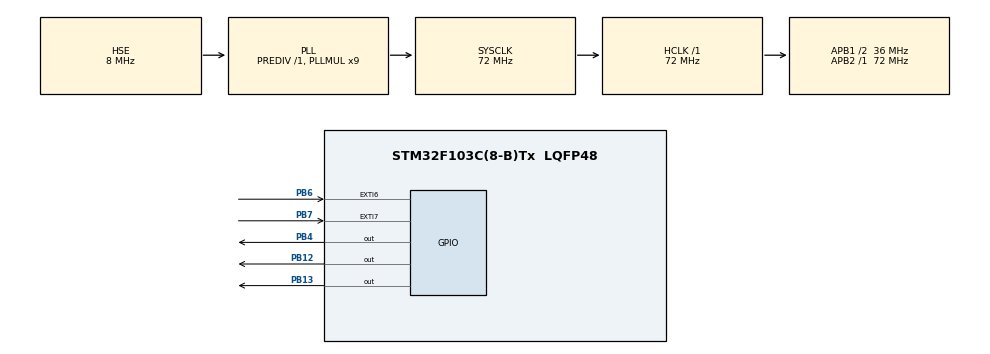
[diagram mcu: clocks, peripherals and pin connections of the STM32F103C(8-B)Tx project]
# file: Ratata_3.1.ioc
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Mcu.Family=STM32F1
Mcu.Name=STM32F103C(8-B)Tx
Mcu.Package=LQFP48
NVIC.EXTI9_5_IRQn=true\:0\:0\:false\:false\:true\:true\:true
NVIC.PriorityGroup=NVIC_PRIORITYGROUP_4
PA13.Mode=Serial_Wire
PA13.Signal=SYS_JTMS-SWDIO
PA14.Mode=Serial_Wire
PA14.Signal=SYS_JTCK-SWCLK
PB12.GPIO_PuPd=GPIO_PULLUP
PB12.Signal=GPIO_Output
PB13.GPIO_PuPd=GPIO_PULLUP
PB13.Signal=GPIO_Output
PB4.Signal=GPIO_Output
PB6.GPIO_PuPd=GPIO_PULLUP
PB6.Signal=GPXTI6
PB7.GPIO_PuPd=GPIO_PULLUP
PB7.Signal=GPXTI7
PD0-OSC_IN.Mode=HSE-External-Oscillator
PD0-OSC_IN.Signal=RCC_OSC_IN
PD1-OSC_OUT.Mode=HSE-External-Oscillator
PD1-OSC_OUT.Signal=RCC_OSC_OUT
ProjectManager.HeapSize=0x200
ProjectManager.StackSize=0x400
ProjectManager.TargetToolchain=MDK-ARM V5.27
RCC.AHBFreq_Value=72000000
RCC.APB1CLKDivider=RCC_HCLK_DIV2
RCC.APB1Freq_Value=36000000
RCC.APB1TimFreq_Value=72000000
RCC.APB2Freq_Value=72000000
RCC.APB2TimFreq_Value=72000000
RCC.HCLKFreq_Value=72000000
RCC.PLLMUL=RCC_PLL_MUL9
RCC.PLLSourceVirtual=RCC_PLLSOURCE_HSE
RCC.SYSCLKFreq_VALUE=72000000
RCC.SYSCLKSource=RCC_SYSCLKSOURCE_PLLCLK
RCC.USBFreq_Value=72000000
board=custom

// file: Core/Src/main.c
/* USER CODE BEGIN Header */
/**
  ******************************************************************************
  * @file           : main.c
  * @brief          : Main program body
  ******************************************************************************
  * @attention
  *
  * <h2><center>&copy; Copyright (c) 2021 STMicroelectronics.
  * All rights reserved.</center></h2>
  *
  * This software component is licensed by ST under BSD 3-Clause license,
  * the "License"; You may not use this file except in compliance with the
  * License. You may obtain a copy of the License at:
  *                        opensource.org/licenses/BSD-3-Clause
  *
  ******************************************************************************
  */
/* USER CODE END Header */
#include "main.h"

/* USER CODE BEGIN PV */
long frequency = 72000000;
int time = 0;
float signal = 0.1;
float sequence[] = {1,2,3,3,2,1,0.1,0}; // anal
float sequence2[] = {5,5,2,2,2,10,10,0.1,0}; // anal2
/* USER CODE END PV */

void SystemClock_Config(void);
static void MX_GPIO_Init(void);
/*void DWT_delay(float sec)
{
	for(uint32_t i = 0; i < sec*90000*200/13; i++)
	{
		__nop();
		__nop();
	}
}     */

/******************DWT_START*********************/
#define    DWT_CYCCNT    *(volatile unsigned long *)0xE0001004
#define    DWT_CONTROL   *(volatile unsigned long *)0xE0001000
#define    SCB_DEMCR     *(volatile unsigned long *)0xE000EDFC

void DWT_delay (uint32_t us)
{
  int32_t us_count_tick =  us * (SystemCoreClock/1000);
				//	разрешаем использовать счётчик
  SCB_DEMCR |= CoreDebug_DEMCR_TRCENA_Msk;
        //	обнуляем значение счётного регистра
  DWT_CYCCNT  = 0;
        //	запускаем счётчик
  DWT_CONTROL |= DWT_CTRL_CYCCNTENA_Msk;
  while(DWT_CYCCNT < us_count_tick);
        //	останавливаем счётчик
  DWT_CONTROL &= ~DWT_CTRL_CYCCNTENA_Msk;
}

void Ratata(float seq[])
{
		for (int i = 0; seq[i] != 0; i++){
			HAL_GPIO_WritePin(GPIOB, GPIO_PIN_4, GPIO_PIN_SET);
			DWT_delay(signal);
			HAL_GPIO_WritePin(GPIOB, GPIO_PIN_4, GPIO_PIN_RESET);
			DWT_delay(seq[i]-signal);
		}
}
void Ratata2(float seq[])
{
		for (int i = 0; seq[i] != 0; i++){
			HAL_GPIO_WritePin(GPIOB, GPIO_PIN_4, GPIO_PIN_SET);
			DWT_delay(signal);
			HAL_GPIO_WritePin(GPIOB, GPIO_PIN_4, GPIO_PIN_RESET);
			DWT_delay(seq[i] * 75./60. - signal);
		}
}

int main(void)
{

  /* MCU Configuration--------------------------------------------------------*/

  /* Reset of all peripherals, Initializes the Flash interface and the Systick. */
  HAL_Init();

  /* Configure the system clock */
  SystemClock_Config();

  /* Initialize all configured peripherals */
  MX_GPIO_Init();

  /* USER CODE BEGIN 2 */
	HAL_NVIC_EnableIRQ(EXTI9_5_IRQn);
  /* USER CODE END 2 */

  /* Infinite loop */
  while (1)
  {

    /* USER CODE BEGIN 3 */
		HAL_GPIO_WritePin(GPIOB,GPIO_PIN_12,GPIO_PIN_SET);
		DWT_delay(200);
		HAL_GPIO_WritePin(GPIOB,GPIO_PIN_12,GPIO_PIN_RESET);
		DWT_delay(200);
		HAL_GPIO_WritePin(GPIOB,GPIO_PIN_13,GPIO_PIN_SET);
		DWT_delay(200);
		HAL_GPIO_WritePin(GPIOB,GPIO_PIN_13,GPIO_PIN_RESET);
		DWT_delay(200);
	}
  /* USER CODE END 3 */
}

void SystemClock_Config(void)
{
  RCC_OscInitTypeDef RCC_OscInitStruct = {0};
  RCC_ClkInitTypeDef RCC_ClkInitStruct = {0};

  /** Initializes the RCC Oscillators according to the specified parameters
  * in the RCC_OscInitTypeDef structure.
  */
  RCC_OscInitStruct.OscillatorType = RCC_OSCILLATORTYPE_HSE;
  RCC_OscInitStruct.HSEState = RCC_HSE_ON;
  RCC_OscInitStruct.HSEPredivValue = RCC_HSE_PREDIV_DIV1;
  RCC_OscInitStruct.HSIState = RCC_HSI_ON;
  RCC_OscInitStruct.PLL.PLLState = RCC_PLL_ON;
  RCC_OscInitStruct.PLL.PLLSource = RCC_PLLSOURCE_HSE;
  RCC_OscInitStruct.PLL.PLLMUL = RCC_PLL_MUL9;
  if (HAL_RCC_OscConfig(&RCC_OscInitStruct) != HAL_OK)
  {
    Error_Handler();
  }
  /** Initializes the CPU, AHB and APB buses clocks
  */
  RCC_ClkInitStruct.ClockType = RCC_CLOCKTYPE_HCLK|RCC_CLOCKTYPE_SYSCLK
                              |RCC_CLOCKTYPE_PCLK1|RCC_CLOCKTYPE_PCLK2;
  RCC_ClkInitStruct.SYSCLKSource = RCC_SYSCLKSOURCE_PLLCLK;
  RCC_ClkInitStruct.AHBCLKDivider = RCC_SYSCLK_DIV1;
  RCC_ClkInitStruct.APB1CLKDivider = RCC_HCLK_DIV2;
  RCC_ClkInitStruct.APB2CLKDivider = RCC_HCLK_DIV1;

  if (HAL_RCC_ClockConfig(&RCC_ClkInitStruct, FLASH_LATENCY_2) != HAL_OK)
  {
    Error_Handler();
  }
}

static void MX_GPIO_Init(void)
{
  GPIO_InitTypeDef GPIO_InitStruct = {0};

  /* GPIO Ports Clock Enable */
  __HAL_RCC_GPIOD_CLK_ENABLE();
  __HAL_RCC_GPIOB_CLK_ENABLE();
  __HAL_RCC_GPIOA_CLK_ENABLE();

  /*Configure GPIO pin Output Level */
  HAL_GPIO_WritePin(GPIOB, GPIO_PIN_12|GPIO_PIN_13|GPIO_PIN_4, GPIO_PIN_RESET);

  /*Configure GPIO pins : PB12 PB13 */
  GPIO_InitStruct.Pin = GPIO_PIN_12|GPIO_PIN_13;
  GPIO_InitStruct.Mode = GPIO_MODE_OUTPUT_PP;
  GPIO_InitStruct.Pull = GPIO_NOPULL;
  GPIO_InitStruct.Speed = GPIO_SPEED_FREQ_LOW;
  HAL_GPIO_Init(GPIOB, &GPIO_InitStruct);

  /*Configure GPIO pin : PB4 */
  GPIO_InitStruct.Pin = GPIO_PIN_4;
  GPIO_InitStruct.Mode = GPIO_MODE_OUTPUT_PP;
  GPIO_InitStruct.Pull = GPIO_PULLDOWN;
  GPIO_InitStruct.Speed = GPIO_SPEED_FREQ_LOW;
  HAL_GPIO_Init(GPIOB, &GPIO_InitStruct);

  /*Configure GPIO pins : PB6 PB7 */
  GPIO_InitStruct.Pin = GPIO_PIN_6|GPIO_PIN_7;
  GPIO_InitStruct.Mode = GPIO_MODE_IT_FALLING;
  GPIO_InitStruct.Pull = GPIO_PULLUP;
  HAL_GPIO_Init(GPIOB, &GPIO_InitStruct);

  /* EXTI interrupt init*/
  HAL_NVIC_SetPriority(EXTI9_5_IRQn, 0, 0);
  HAL_NVIC_EnableIRQ(EXTI9_5_IRQn);

}

/* USER CODE BEGIN 4 */
	void HAL_GPIO_EXTI_Callback(uint16_t GPIO_Pin)
{
  /* Prevent unused argument(s) compilation warning */
  //UNUSED(GPIO_Pin);
  /* NOTE: This function Should not be modified, when the callback is needed,
           the HAL_GPIO_EXTI_Callback could be implemented in the user file
   */
	if(GPIO_Pin == GPIO_PIN_7 & HAL_GetTick()-time > 500)         //Right_Button
		 {
			 time = HAL_GetTick();
			 HAL_GPIO_WritePin(GPIOB, GPIO_PIN_13, GPIO_PIN_RESET);
			 HAL_GPIO_WritePin(GPIOB, GPIO_PIN_12, GPIO_PIN_SET);
			 HAL_GPIO_WritePin(GPIOB, GPIO_PIN_4, GPIO_PIN_SET);
			 Ratata(sequence2);
			 HAL_GPIO_WritePin(GPIOB, GPIO_PIN_4, GPIO_PIN_RESET);
			 HAL_GPIO_WritePin(GPIOB, GPIO_PIN_12, GPIO_PIN_RESET);
			 HAL_NVIC_SystemReset();
		 }
	else if(GPIO_Pin == GPIO_PIN_6 & HAL_GetTick()-time > 500 )  //Left_Button 75bpm
		 {
			 time = HAL_GetTick();
			 HAL_GPIO_WritePin(GPIOB, GPIO_PIN_12, GPIO_PIN_RESET);
			 HAL_GPIO_WritePin(GPIOB, GPIO_PIN_13, GPIO_PIN_SET);
			 HAL_GPIO_WritePin(GPIOB, GPIO_PIN_4, GPIO_PIN_SET);
			 Ratata2(sequence);
			 HAL_GPIO_WritePin(GPIOB, GPIO_PIN_4, GPIO_PIN_RESET);
			 HAL_GPIO_WritePin(GPIOB, GPIO_PIN_13, GPIO_PIN_RESET);
			 HAL_NVIC_SystemReset();
		 }
	else{
		__nop();
			}
}
/* USER CODE END 4 */

void Error_Handler(void)
{
}

/************************ (C) COPYRIGHT STMicroelectronics *****END OF FILE****/
